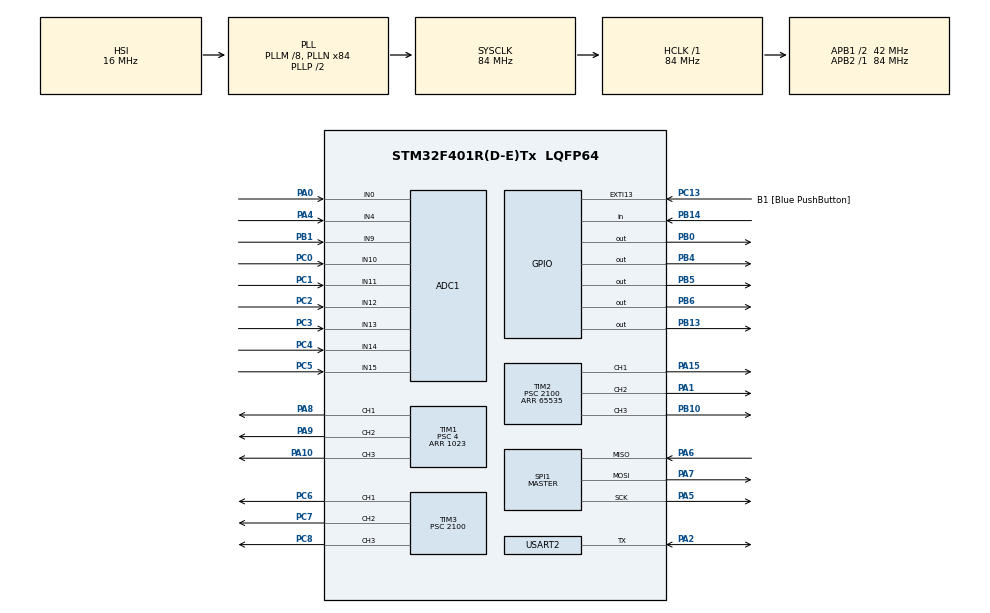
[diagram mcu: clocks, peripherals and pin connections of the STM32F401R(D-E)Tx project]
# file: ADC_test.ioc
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ADC1.Channel-0\#ChannelRegularConversion=ADC_CHANNEL_0
ADC1.Channel-1\#ChannelRegularConversion=ADC_CHANNEL_4
ADC1.Channel-2\#ChannelRegularConversion=ADC_CHANNEL_9
ADC1.Channel-3\#ChannelRegularConversion=ADC_CHANNEL_10
ADC1.Channel-4\#ChannelRegularConversion=ADC_CHANNEL_11
ADC1.Channel-5\#ChannelRegularConversion=ADC_CHANNEL_12
ADC1.Channel-6\#ChannelRegularConversion=ADC_CHANNEL_13
ADC1.Channel-7\#ChannelRegularConversion=ADC_CHANNEL_14
ADC1.Channel-8\#ChannelRegularConversion=ADC_CHANNEL_15
ADC1.ClockPrescaler=ADC_CLOCK_SYNC_PCLK_DIV8
ADC1.ContinuousConvMode=ENABLE
ADC1.DMAContinuousRequests=ENABLE
ADC1.NbrOfConversion=9
ADC1.NbrOfConversionFlag=1
ADC1.Rank-0\#ChannelRegularConversion=1
ADC1.Rank-1\#ChannelRegularConversion=2
ADC1.Rank-2\#ChannelRegularConversion=3
ADC1.Rank-3\#ChannelRegularConversion=4
ADC1.Rank-4\#ChannelRegularConversion=5
ADC1.Rank-5\#ChannelRegularConversion=6
ADC1.Rank-6\#ChannelRegularConversion=7
ADC1.Rank-7\#ChannelRegularConversion=8
ADC1.Rank-8\#ChannelRegularConversion=9
ADC1.SamplingTime-0\#ChannelRegularConversion=ADC_SAMPLETIME_3CYCLES
ADC1.SamplingTime-1\#ChannelRegularConversion=ADC_SAMPLETIME_3CYCLES
ADC1.SamplingTime-2\#ChannelRegularConversion=ADC_SAMPLETIME_3CYCLES
ADC1.SamplingTime-3\#ChannelRegularConversion=ADC_SAMPLETIME_3CYCLES
ADC1.SamplingTime-4\#ChannelRegularConversion=ADC_SAMPLETIME_3CYCLES
ADC1.SamplingTime-5\#ChannelRegularConversion=ADC_SAMPLETIME_3CYCLES
ADC1.SamplingTime-6\#ChannelRegularConversion=ADC_SAMPLETIME_3CYCLES
ADC1.SamplingTime-7\#ChannelRegularConversion=ADC_SAMPLETIME_3CYCLES
ADC1.SamplingTime-8\#ChannelRegularConversion=ADC_SAMPLETIME_3CYCLES
ADC1.master=1
Dma.ADC1.0.Direction=DMA_PERIPH_TO_MEMORY
Dma.ADC1.0.FIFOMode=DMA_FIFOMODE_DISABLE
Dma.ADC1.0.Instance=DMA2_Stream0
Dma.ADC1.0.MemDataAlignment=DMA_MDATAALIGN_HALFWORD
Dma.ADC1.0.MemInc=DMA_MINC_ENABLE
Dma.ADC1.0.Mode=DMA_CIRCULAR
Dma.ADC1.0.PeriphDataAlignment=DMA_PDATAALIGN_HALFWORD
Dma.ADC1.0.PeriphInc=DMA_PINC_DISABLE
Dma.ADC1.0.Priority=DMA_PRIORITY_LOW
Dma.Request0=ADC1
Mcu.Family=STM32F4
Mcu.Name=STM32F401R(D-E)Tx
Mcu.Package=LQFP64
NVIC.DMA2_Stream0_IRQn=true\:0\:0\:false\:false\:true\:false\:true
NVIC.PriorityGroup=NVIC_PRIORITYGROUP_0
PA0-WKUP.Signal=ADCx_IN0
PA1.Signal=S_TIM2_CH2
PA10.Signal=S_TIM1_CH3
PA13.GPIO_Label=TMS
PA13.Mode=Serial_Wire
PA13.Signal=SYS_JTMS-SWDIO
PA14.GPIO_Label=TCK
PA14.Mode=Serial_Wire
PA14.Signal=SYS_JTCK-SWCLK
PA15.Signal=S_TIM2_CH1_ETR
PA2.Mode=Half_duplex(single_wire_mode)
PA2.Signal=USART2_TX
PA4.Signal=ADCx_IN4
PA5.Mode=Full_Duplex_Master
PA5.Signal=SPI1_SCK
PA6.Mode=Full_Duplex_Master
PA6.Signal=SPI1_MISO
PA7.Mode=Full_Duplex_Master
PA7.Signal=SPI1_MOSI
PA8.Signal=S_TIM1_CH1
PA9.Signal=S_TIM1_CH2
PB0.Signal=GPIO_Output
PB1.Signal=ADCx_IN9
PB10.Signal=S_TIM2_CH3
PB13.Signal=GPIO_Output
PB14.Signal=GPIO_Input
PB3.GPIO_Label=SWO
PB3.Signal=SYS_JTDO-SWO
PB4.Signal=GPIO_Output
PB5.Signal=GPIO_Output
PB6.Signal=GPIO_Output
PC0.Signal=ADCx_IN10
PC1.Signal=ADCx_IN11
PC13-ANTI_TAMP.GPIO_Label=B1 [Blue PushButton]
PC13-ANTI_TAMP.GPIO_ModeDefaultEXTI=GPIO_MODE_IT_FALLING
PC13-ANTI_TAMP.GPIO_PuPd=GPIO_NOPULL
PC13-ANTI_TAMP.Signal=GPXTI13
PC14-OSC32_IN.Mode=LSE-External-Oscillator
PC14-OSC32_IN.Signal=RCC_OSC32_IN
PC15-OSC32_OUT.Mode=LSE-External-Oscillator
PC15-OSC32_OUT.Signal=RCC_OSC32_OUT
PC2.Signal=ADCx_IN12
PC3.Signal=ADCx_IN13
PC4.Signal=ADCx_IN14
PC5.Signal=ADCx_IN15
PC6.Signal=S_TIM3_CH1
PC7.Signal=S_TIM3_CH2
PC8.Signal=S_TIM3_CH3
PH0\ -\ OSC_IN.Mode=HSE-External-Oscillator
PH0\ -\ OSC_IN.Signal=RCC_OSC_IN
PH1\ -\ OSC_OUT.Mode=HSE-External-Oscillator
PH1\ -\ OSC_OUT.Signal=RCC_OSC_OUT
ProjectManager.HeapSize=0x200
ProjectManager.StackSize=0x400
ProjectManager.TargetToolchain=STM32CubeIDE
RCC.48MHZClocksFreq_Value=24000000
RCC.AHBFreq_Value=84000000
RCC.APB1CLKDivider=RCC_HCLK_DIV2
RCC.APB1Freq_Value=42000000
RCC.APB1TimFreq_Value=84000000
RCC.APB2Freq_Value=84000000
RCC.APB2TimFreq_Value=84000000
RCC.CortexFreq_Value=84000000
RCC.HCLKFreq_Value=84000000
RCC.HSE_VALUE=8000000
RCC.HSI_VALUE=16000000
RCC.PLLM=8
RCC.PLLN=84
RCC.PLLQ=7
RCC.SYSCLKFreq_VALUE=84000000
RCC.SYSCLKSource=RCC_SYSCLKSOURCE_PLLCLK
RCC.VCOOutputFreq_Value=168000000
SH.ADCx_IN0.0=ADC1_IN0,IN0
SH.ADCx_IN10.0=ADC1_IN10,IN10
SH.ADCx_IN11.0=ADC1_IN11,IN11
SH.ADCx_IN12.0=ADC1_IN12,IN12
SH.ADCx_IN13.0=ADC1_IN13,IN13
SH.ADCx_IN14.0=ADC1_IN14,IN14
SH.ADCx_IN15.0=ADC1_IN15,IN15
SH.ADCx_IN4.0=ADC1_IN4,IN4
SH.ADCx_IN9.0=ADC1_IN9,IN9
SH.S_TIM1_CH1.0=TIM1_CH1,PWM Generation1 CH1
SH.S_TIM1_CH2.0=TIM1_CH2,PWM Generation2 CH2
SH.S_TIM1_CH3.0=TIM1_CH3,PWM Generation3 CH3
SH.S_TIM2_CH1_ETR.0=TIM2_CH1,PWM Generation1 CH1
SH.S_TIM2_CH2.0=TIM2_CH2,PWM Generation2 CH2
SH.S_TIM2_CH3.0=TIM2_CH3,PWM Generation3 CH3
SH.S_TIM3_CH1.0=TIM3_CH1,PWM Generation1 CH1
SH.S_TIM3_CH2.0=TIM3_CH2,PWM Generation2 CH2
SH.S_TIM3_CH3.0=TIM3_CH3,PWM Generation3 CH3
SPI1.BaudRatePrescaler=SPI_BAUDRATEPRESCALER_16
SPI1.Direction=SPI_DIRECTION_2LINES
SPI1.Mode=SPI_MODE_MASTER
SPI1.VirtualType=VM_MASTER
TIM1.Channel-PWM\ Generation1\ CH1=TIM_CHANNEL_1
TIM1.Channel-PWM\ Generation2\ CH2=TIM_CHANNEL_2
TIM1.Channel-PWM\ Generation3\ CH3=TIM_CHANNEL_3
TIM1.CounterMode=TIM_COUNTERMODE_CENTERALIGNED1
TIM1.Period=1023
TIM1.Prescaler=4
TIM1.Pulse-PWM\ Generation1\ CH1=0
TIM1.Pulse-PWM\ Generation2\ CH2=0
TIM1.Pulse-PWM\ Generation3\ CH3=0
TIM2.Channel-PWM\ Generation1\ CH1=TIM_CHANNEL_1
TIM2.Channel-PWM\ Generation2\ CH2=TIM_CHANNEL_2
TIM2.Channel-PWM\ Generation3\ CH3=TIM_CHANNEL_3
TIM2.CounterMode=TIM_COUNTERMODE_CENTERALIGNED1
TIM2.Period=65535
TIM2.Prescaler=2100
TIM3.Channel-PWM\ Generation1\ CH1=TIM_CHANNEL_1
TIM3.Channel-PWM\ Generation2\ CH2=TIM_CHANNEL_2
TIM3.Channel-PWM\ Generation3\ CH3=TIM_CHANNEL_3
TIM3.CounterMode=TIM_COUNTERMODE_CENTERALIGNED1
TIM3.Prescaler=2100
TIM5.Channel-Output\ Compare4\ No\ Output=TIM_CHANNEL_4
TIM5.Period=999999
TIM5.Prescaler=84
USART2.VirtualMode=VM_ASYNC
VP_TIM5_VS_no_output4.Mode=Output Compare4 No Output
board=NUCLEO-F401RE

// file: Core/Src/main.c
/* USER CODE BEGIN Header */
/**
 ******************************************************************************
 * @file           : main.c
 * @brief          : Main program body
 ******************************************************************************
 * @attention
 *
 * <h2><center>&copy; Copyright (c) 2021 STMicroelectronics.
 * All rights reserved.</center></h2>
 *
 * This software component is licensed by ST under BSD 3-Clause license,
 * the "License"; You may not use this file except in compliance with the
 * License. You may obtain a copy of the License at:
 *                        opensource.org/licenses/BSD-3-Clause
 *
 ******************************************************************************
 */
/* USER CODE END Header */
#include "main.h"

/* USER CODE BEGIN Includes */
#include <math.h>
#include <string.h>
#include <stdio.h>
#include <time.h>
#include "BMI270.h"
#include "AS5048A.h"
#include "Quaternions.h"
#include "DRV8313.h"
#include "def.h"
/* USER CODE END Includes */

ADC_HandleTypeDef hadc1;
DMA_HandleTypeDef hdma_adc1;

SPI_HandleTypeDef hspi1;

TIM_HandleTypeDef htim1;
TIM_HandleTypeDef htim2;
TIM_HandleTypeDef htim3;
TIM_HandleTypeDef htim5;

UART_HandleTypeDef huart2;

/* USER CODE BEGIN PV */

/*Quaternion vars*/
//######################################

volatile float q0 = 1.0f, q1 = 0.0f, q2 = 0.0f, q3 = 0.0f;

float sampleDelay = 0.0f; //milliseconds

clock_t t1;
clock_t t2;
float while_t = 7.0f;
volatile uint32_t us_t = 0;
volatile uint32_t us_t_prev = 988;

//wait variable for bypassing zero-values when calculating quaternion
uint8_t waitFilterUpdate = 0;

#define DEG_TO_RAD 0.01745329251
#define RAD_TO_DEG 57.2957795457
//######################################

/*IMU variables*/
//######################################
float gyr_range, acc_range;

float gyr_limiter = 0.7;
//int16_t gyr_x_raw, gyr_y_raw, gyr_z_raw;
//int16_t acc_x_raw, acc_y_raw, acc_z_raw;
//static float gyr_x, gyr_y, gyr_z;
//static float acc_x, acc_y, acc_z;

float roll, pitch, yaw;

uint16_t offset_x = 0, offset_y = 0, offset_z = 0;

uint8_t chip_id = 0;
//######################################

/*Simulation vars*/
//######################################
float ax_s = 0, ay_s = 0, az_s = 0, gx_s = 0, gy_s = 0, gz_s = 0;
uint8_t zero_c = 0;
//######################################

/*DRV8313 vars*/
//######################################
volatile uint16_t adc_read[ADC_CHANNELS];
volatile uint8_t adcConvComplete = 0;

//######################################

uint32_t loop_cnt = 0;
uint32_t print_flag = 800;

char* buff[BUFF_SIZE]; //string buff for UART

/* USER CODE END PV */

void SystemClock_Config(void);
static void MX_GPIO_Init(void);
static void MX_USART2_UART_Init(void);
static void MX_DMA_Init(void);
static void MX_ADC1_Init(void);
static void MX_TIM1_Init(void);
static void MX_SPI1_Init(void);
static void MX_TIM2_Init(void);
static void MX_TIM3_Init(void);
static void MX_TIM5_Init(void);

int main(void)
{

  /* MCU Configuration--------------------------------------------------------*/

  /* Reset of all peripherals, Initializes the Flash interface and the Systick. */
  HAL_Init();

  /* Configure the system clock */
  SystemClock_Config();

  /* Initialize all configured peripherals */
  MX_GPIO_Init();
  MX_USART2_UART_Init();
  MX_DMA_Init();
  MX_ADC1_Init();
  MX_TIM1_Init();
  MX_SPI1_Init();
  MX_TIM2_Init();
  MX_TIM3_Init();
  MX_TIM5_Init();
  /* USER CODE BEGIN 2 */

  	if(!USE_IMU_VIS){
		sprintf((char*)buff, "\r\n###########################\r\n");
		HAL_UART_Transmit(&huart2, (uint8_t*)buff, strlen((char*)buff), HAL_MAX_DELAY);
  	}

  	EulerAngles Euler;

  	IMU Imu;

	MotorDriver MotorX;
	MotorDriver MotorY;
	MotorDriver MotorZ;

	MotorX.PIN_ENC = PIN_ENC_X;
	MotorY.PIN_ENC = PIN_ENC_Y;
	MotorZ.PIN_ENC = PIN_ENC_Z;

	if (USE_DRV8313) {

		/* Initialize motor structs and start PWM*/
		drv8313_init(&MotorX, &htim1);
		drv8313_init(&MotorY, &htim2);
		drv8313_init(&MotorZ, &htim3);

		if (ADC_TYPE == ADC_DMA) {
			HAL_ADC_Start_DMA(&hadc1, (uint32_t*) adc_read, ADC_CHANNELS);
		} else if (ADC_TYPE == ADC_INT) {

		}
	}

	if (USE_BMI270) {
		bmi270_spi_init();
		if(!USE_IMU_VIS){
			bmi270_spi_init_check();
		}

		bmi270_pwr_conf(BMI270_PWR_MODE_PERF);
		bmi270_spi_write_8(REG_GYR_RANGE, range_2000);
		bmi270_spi_write_8(REG_ACC_RANGE, range_8g);

		bmi270_getGyroRange(&Imu);
		bmi270_getAccelRange(&Imu);

		bmi270_calibrateInit(&Imu, 0);

		Imu.gyr_odr = gyr_odr_25; /* Set gyro 3dB LP-filter cutoff to 50Hz */
		Imu.gyr_bwp = gyr_osr2;
		Imu.gyr_noise_perf = gyr_ulp;
		Imu.gyr_filter_perf = gyr_ulp;
		bmi270_setGyroConf(&Imu);
		bmi270_getGyroConf(&Imu);

		Imu.acc_odr = acc_odr_12p5; /* Set accel 3dB LP-filter cutoff to 50Hz */
		Imu.acc_bwp = acc_res_avg128;
		Imu.acc_filter_perf = acc_ulp;
		bmi270_setAccConf(&Imu);
		bmi270_getAccConf(&Imu);
	}

	if (USE_AS5048A) {
		/* Initialize encoders for each motor*/
		as5048a_init(&MotorX);
		as5048a_init(&MotorY);
		as5048a_init(&MotorZ);
	}

	setSampleFreq_ms();

	TIM5->PSC = 84;
	TIM5->ARR = 999999;

	HAL_TIM_Base_Start(&htim5);
  /* USER CODE END 2 */

  /* Infinite loop */
  /* USER CODE BEGIN WHILE */
	while (1) {
//		us_t = __HAL_TIM_GET_COUNTER(&htim5);
//		setSampleFreq_us();
		t1 = HAL_GetTick();
		setSampleFreq_ms();

		if (USE_AS5048A) {

			as5048a_getAngle(&MotorX);
			as5048a_getAngle(&MotorY);
			as5048a_getAngle(&MotorZ);

		}

		if (USE_DRV8313 && !USE_IMU_VIS) {
			if (ADC_TYPE == ADC_DMA) {
				while (adcConvComplete == 0) { /* ADC interrupt wait */
				}
				adcConvComplete = 0;

				MotorX.sense1 = adc_read[0];
				MotorX.sense2 = adc_read[1];
				MotorX.sense3 = adc_read[2];
				MotorY.sense1 = adc_read[3];
				MotorY.sense2 = adc_read[4];
				MotorY.sense3 = adc_read[5];
				MotorZ.sense1 = adc_read[6];
				MotorZ.sense2 = adc_read[7];
				MotorZ.sense3 = adc_read[8];
			}

			drv8313_setDutyLookup(&MotorX);
		}

		if (USE_BMI270) {
			Imu.gyr_x = (int16_t)bmi270_read_gyro(AXIS_X) / Imu.gyr_range;
			Imu.gyr_y = (int16_t)bmi270_read_gyro(AXIS_Y) / Imu.gyr_range;
			Imu.gyr_z = (int16_t)bmi270_read_gyro(AXIS_Z) / Imu.gyr_range;

			if(!HAL_GPIO_ReadPin(GPIOC, GPIO_PIN_13)){
				q0 = 1.0f, q1 = 0.0f, q2 = 0.0f, q3 = 0.0f;
			}

			bmi270_calibrateNoise(&Imu);
			//gyro limiter. Prevents yaw drift programmatically, with some success.
			if(Imu.calibration_c >= BMI270_CALIBRATION_TIM){
				if(Imu.gyr_x > -Imu.gyr_lim_min_x && Imu.gyr_x < Imu.gyr_lim_max_x){
					Imu.gyr_x = 0.0f;
				}
				if(Imu.gyr_y > -Imu.gyr_lim_min_y && Imu.gyr_y < Imu.gyr_lim_max_x){
					Imu.gyr_y = 0.0f;
				}
				if(Imu.gyr_z > -Imu.gyr_lim_min_z && Imu.gyr_z < Imu.gyr_lim_max_z){
					Imu.gyr_z = 0.0f;
				}
			}

			Imu.acc_x = (int16_t)bmi270_read_accel(AXIS_X) / Imu.acc_range;
			Imu.acc_y = (int16_t)bmi270_read_accel(AXIS_Y) / Imu.acc_range;
			Imu.acc_z = (int16_t)bmi270_read_accel(AXIS_Z) / Imu.acc_range;
		}

		//Wait before updating quaternion. This avoids div by zero in different Quaternion functions.
		if (/*waitFilterUpdate >= 1 &&*/ !USE_SIM && (USE_BMI270 || USE_ICM20602)) {
			filterUpdate(Imu.gyr_x * DEG_TO_RAD, Imu.gyr_y * DEG_TO_RAD,
					Imu.gyr_z * DEG_TO_RAD, Imu.acc_x, Imu.acc_y, Imu.acc_z);
		} else if (USE_SIM) {
			gx_s = 0;
			gy_s = 0;
			gz_s = 10;
			ax_s = 0.0;
			ay_s = 0.0;
			az_s = 0.0;
			filterUpdate(gx_s * DEG_TO_RAD, gy_s * DEG_TO_RAD,
					gz_s * DEG_TO_RAD, ax_s, ay_s, az_s);
		}
		waitFilterUpdate++;

		if (USE_ICM20602 || USE_BMI270) {
			Euler = ToEulerAngles(q0, q1, q2, q3);
			Imu.roll = Euler.x * RAD_TO_DEG;
			Imu.pitch = Euler.y * RAD_TO_DEG;
			Imu.yaw = Euler.z * RAD_TO_DEG;
		}

		if(USE_PRINT){
			uint16_t len = 0;
			if(!USE_IMU_VIS && !loop_cnt){
				if(USE_AS5048A){
					len += sprintf((char*)buff + len,
							"\r\n########## ENCODER ANGLES ##########\r\n"
							"MotorX\r\n"
							"Angle: %.3f\t Zero pos: %.3f\r\n"
							"MotorY\r\n"
							"Angle: %.3f\t Zero pos: %.3f\r\n"
							"MotorZ\r\n"
							"Angle: %.3f\t Zero pos: %.3f\r\n",
							MotorX.angle, MotorX.zero_pos_map,
							MotorY.angle, MotorY.zero_pos_map,
							MotorZ.angle, MotorZ.zero_pos_map
					);
				}
				if(USE_DRV8313){
					len += sprintf((char*)buff + len,
							"\r\n########## DRV8313 DATA ##########\r\n"
							"MotorX\r\n"
							"Sense1: %u\tSense2: %u\tSense3: %u\r\n"
							"MotorY\r\n"
							"Sense1: %u\tSense2: %u\tSense3: %u\r\n"
							"MotorZ\r\n"
							"Sense1: %u\tSense2: %u\tSense3: %u\r\n",
							MotorX.sense1, MotorX.sense2, MotorX.sense3,
							MotorY.sense1, MotorY.sense2, MotorY.sense3,
							MotorZ.sense1, MotorZ.sense2, MotorZ.sense3);
				}
				if(USE_BMI270 || USE_ICM20602){
					len += sprintf((char*)buff + len,
							"\r\n########## IMU DATA ##########\r\n"
							"gyr_range: %f\r\n"
							"acc_range: %f\r\n"
							"while loop time: %f\r\n"
							"us_cnt: %ul\r\n"
							"sampleFreq: %f\r\n"
							"gyr_lim_min_x: %f\tgyr_lim_min_y: %f\tgyr_lim_min_z: %f\r\n"
							"gyr_lim_max_x: %f\tgyr_lim_max_y: %f\tgyr_lim_max_z: %f\r\n"
							"gyroscope x: %f˚/s, y: %f˚/s, z: %f˚/s\r\n"
							"accelerometer x: %f m/s2, y: %f m/s2, z: %f m/s2\r\n"
							"q0: %f, q1: %f, q2: %f, q3: %f\r\n"
							"roll: %f, pitch: %f, yaw: %f\r\n",
							Imu.acc_range, Imu.gyr_range, while_t, us_t_prev, sampleFreq,
							Imu.gyr_lim_min_x, Imu.gyr_lim_min_y, Imu.gyr_lim_min_z,
							Imu.gyr_lim_max_x, Imu.gyr_lim_max_y, Imu.gyr_lim_max_z,
							Imu.gyr_x, Imu.gyr_y, Imu.gyr_z,
							Imu.acc_x, Imu.acc_y, Imu.acc_z,
							q0, q1, q2, q3,
							Imu.roll, Imu.pitch, Imu.yaw);
				}
				HAL_UART_Transmit(&huart2, (uint8_t*)buff, strlen((char*)buff),
											HAL_MAX_DELAY);
			}
			if(USE_IMU_VIS){
				len += sprintf((char*)buff + len,
						"w%.4fwa%.4fab%.4fbc%.4fcy%.4fyp%.4fpr%.4fr\r\n",
						q0, q1, q2, q3,
						Imu.yaw, Imu.pitch, Imu.roll);
				HAL_UART_Transmit(&huart2, (uint8_t*)buff, strlen((char*)buff),
											HAL_MAX_DELAY);
			}

		}

		//HAL_Delay(sampleDelay);

		loop_cnt++;
		loop_cnt %= print_flag;
		/* millisecond timer */
		t2 = HAL_GetTick();
		while_t = t2 - t1;
		/* microsecond timer */
//		us_t = __HAL_TIM_GET_COUNTER(&htim5) - us_t;
//		us_t_prev = us_t;

    /* USER CODE END WHILE */

	}
}

void SystemClock_Config(void)
{
  RCC_OscInitTypeDef RCC_OscInitStruct = {0};
  RCC_ClkInitTypeDef RCC_ClkInitStruct = {0};

  /** Configure the main internal regulator output voltage
  */
  __HAL_RCC_PWR_CLK_ENABLE();
  __HAL_PWR_VOLTAGESCALING_CONFIG(PWR_REGULATOR_VOLTAGE_SCALE2);
  /** Initializes the RCC Oscillators according to the specified parameters
  * in the RCC_OscInitTypeDef structure.
  */
  RCC_OscInitStruct.OscillatorType = RCC_OSCILLATORTYPE_HSI;
  RCC_OscInitStruct.HSIState = RCC_HSI_ON;
  RCC_OscInitStruct.HSICalibrationValue = RCC_HSICALIBRATION_DEFAULT;
  RCC_OscInitStruct.PLL.PLLState = RCC_PLL_ON;
  RCC_OscInitStruct.PLL.PLLSource = RCC_PLLSOURCE_HSI;
  RCC_OscInitStruct.PLL.PLLM = 8;
  RCC_OscInitStruct.PLL.PLLN = 84;
  RCC_OscInitStruct.PLL.PLLP = RCC_PLLP_DIV2;
  RCC_OscInitStruct.PLL.PLLQ = 7;
  if (HAL_RCC_OscConfig(&RCC_OscInitStruct) != HAL_OK)
  {
    Error_Handler();
  }
  /** Initializes the CPU, AHB and APB buses clocks
  */
  RCC_ClkInitStruct.ClockType = RCC_CLOCKTYPE_HCLK|RCC_CLOCKTYPE_SYSCLK
                              |RCC_CLOCKTYPE_PCLK1|RCC_CLOCKTYPE_PCLK2;
  RCC_ClkInitStruct.SYSCLKSource = RCC_SYSCLKSOURCE_PLLCLK;
  RCC_ClkInitStruct.AHBCLKDivider = RCC_SYSCLK_DIV1;
  RCC_ClkInitStruct.APB1CLKDivider = RCC_HCLK_DIV2;
  RCC_ClkInitStruct.APB2CLKDivider = RCC_HCLK_DIV1;

  if (HAL_RCC_ClockConfig(&RCC_ClkInitStruct, FLASH_LATENCY_2) != HAL_OK)
  {
    Error_Handler();
  }
}

static void MX_ADC1_Init(void)
{

  ADC_ChannelConfTypeDef sConfig = {0};

  /** Configure the global features of the ADC (Clock, Resolution, Data Alignment and number of conversion)
  */
  hadc1.Instance = ADC1;
  hadc1.Init.ClockPrescaler = ADC_CLOCK_SYNC_PCLK_DIV8;
  hadc1.Init.Resolution = ADC_RESOLUTION_12B;
  hadc1.Init.ScanConvMode = ENABLE;
  hadc1.Init.ContinuousConvMode = ENABLE;
  hadc1.Init.DiscontinuousConvMode = DISABLE;
  hadc1.Init.ExternalTrigConvEdge = ADC_EXTERNALTRIGCONVEDGE_NONE;
  hadc1.Init.ExternalTrigConv = ADC_SOFTWARE_START;
  hadc1.Init.DataAlign = ADC_DATAALIGN_RIGHT;
  hadc1.Init.NbrOfConversion = 9;
  hadc1.Init.DMAContinuousRequests = ENABLE;
  hadc1.Init.EOCSelection = ADC_EOC_SINGLE_CONV;
  if (HAL_ADC_Init(&hadc1) != HAL_OK)
  {
    Error_Handler();
  }
  /** Configure for the selected ADC regular channel its corresponding rank in the sequencer and its sample time.
  */
  sConfig.Channel = ADC_CHANNEL_0;
  sConfig.Rank = 1;
  sConfig.SamplingTime = ADC_SAMPLETIME_3CYCLES;
  if (HAL_ADC_ConfigChannel(&hadc1, &sConfig) != HAL_OK)
  {
    Error_Handler();
  }
  /** Configure for the selected ADC regular channel its corresponding rank in the sequencer and its sample time.
  */
  sConfig.Channel = ADC_CHANNEL_4;
  sConfig.Rank = 2;
  if (HAL_ADC_ConfigChannel(&hadc1, &sConfig) != HAL_OK)
  {
    Error_Handler();
  }
  /** Configure for the selected ADC regular channel its corresponding rank in the sequencer and its sample time.
  */
  sConfig.Channel = ADC_CHANNEL_9;
  sConfig.Rank = 3;
  if (HAL_ADC_ConfigChannel(&hadc1, &sConfig) != HAL_OK)
  {
    Error_Handler();
  }
  /** Configure for the selected ADC regular channel its corresponding rank in the sequencer and its sample time.
  */
  sConfig.Channel = ADC_CHANNEL_10;
  sConfig.Rank = 4;
  if (HAL_ADC_ConfigChannel(&hadc1, &sConfig) != HAL_OK)
  {
    Error_Handler();
  }
  /** Configure for the selected ADC regular channel its corresponding rank in the sequencer and its sample time.
  */
  sConfig.Channel = ADC_CHANNEL_11;
  sConfig.Rank = 5;
  if (HAL_ADC_ConfigChannel(&hadc1, &sConfig) != HAL_OK)
  {
    Error_Handler();
  }
  /** Configure for the selected ADC regular channel its corresponding rank in the sequencer and its sample time.
  */
  sConfig.Channel = ADC_CHANNEL_12;
  sConfig.Rank = 6;
  if (HAL_ADC_ConfigChannel(&hadc1, &sConfig) != HAL_OK)
  {
    Error_Handler();
  }
  /** Configure for the selected ADC regular channel its corresponding rank in the sequencer and its sample time.
  */
  sConfig.Channel = ADC_CHANNEL_13;
  sConfig.Rank = 7;
  if (HAL_ADC_ConfigChannel(&hadc1, &sConfig) != HAL_OK)
  {
    Error_Handler();
  }
  /** Configure for the selected ADC regular channel its corresponding rank in the sequencer and its sample time.
  */
  sConfig.Channel = ADC_CHANNEL_14;
  sConfig.Rank = 8;
  if (HAL_ADC_ConfigChannel(&hadc1, &sConfig) != HAL_OK)
  {
    Error_Handler();
  }
  /** Configure for the selected ADC regular channel its corresponding rank in the sequencer and its sample time.
  */
  sConfig.Channel = ADC_CHANNEL_15;
  sConfig.Rank = 9;
  if (HAL_ADC_ConfigChannel(&hadc1, &sConfig) != HAL_OK)
  {
    Error_Handler();
  }

}

static void MX_SPI1_Init(void)
{

  /* SPI1 parameter configuration*/
  hspi1.Instance = SPI1;
  hspi1.Init.Mode = SPI_MODE_MASTER;
  hspi1.Init.Direction = SPI_DIRECTION_2LINES;
  hspi1.Init.DataSize = SPI_DATASIZE_8BIT;
  hspi1.Init.CLKPolarity = SPI_POLARITY_LOW;
  hspi1.Init.CLKPhase = SPI_PHASE_1EDGE;
  hspi1.Init.NSS = SPI_NSS_SOFT;
  hspi1.Init.BaudRatePrescaler = SPI_BAUDRATEPRESCALER_16;
  hspi1.Init.FirstBit = SPI_FIRSTBIT_MSB;
  hspi1.Init.TIMode = SPI_TIMODE_DISABLE;
  hspi1.Init.CRCCalculation = SPI_CRCCALCULATION_DISABLE;
  hspi1.Init.CRCPolynomial = 10;
  if (HAL_SPI_Init(&hspi1) != HAL_OK)
  {
    Error_Handler();
  }

}

static void MX_TIM1_Init(void)
{

  TIM_MasterConfigTypeDef sMasterConfig = {0};
  TIM_OC_InitTypeDef sConfigOC = {0};
  TIM_BreakDeadTimeConfigTypeDef sBreakDeadTimeConfig = {0};

  htim1.Instance = TIM1;
  htim1.Init.Prescaler = 4;
  htim1.Init.CounterMode = TIM_COUNTERMODE_CENTERALIGNED1;
  htim1.Init.Period = 1023;
  htim1.Init.ClockDivision = TIM_CLOCKDIVISION_DIV1;
  htim1.Init.RepetitionCounter = 0;
  htim1.Init.AutoReloadPreload = TIM_AUTORELOAD_PRELOAD_DISABLE;
  if (HAL_TIM_PWM_Init(&htim1) != HAL_OK)
  {
    Error_Handler();
  }
  sMasterConfig.MasterOutputTrigger = TIM_TRGO_RESET;
  sMasterConfig.MasterSlaveMode = TIM_MASTERSLAVEMODE_DISABLE;
  if (HAL_TIMEx_MasterConfigSynchronization(&htim1, &sMasterConfig) != HAL_OK)
  {
    Error_Handler();
  }
  sConfigOC.OCMode = TIM_OCMODE_PWM1;
  sConfigOC.Pulse = 0;
  sConfigOC.OCPolarity = TIM_OCPOLARITY_HIGH;
  sConfigOC.OCNPolarity = TIM_OCNPOLARITY_HIGH;
  sConfigOC.OCFastMode = TIM_OCFAST_DISABLE;
  sConfigOC.OCIdleState = TIM_OCIDLESTATE_RESET;
  sConfigOC.OCNIdleState = TIM_OCNIDLESTATE_RESET;
  if (HAL_TIM_PWM_ConfigChannel(&htim1, &sConfigOC, TIM_CHANNEL_1) != HAL_OK)
  {
    Error_Handler();
  }
  if (HAL_TIM_PWM_ConfigChannel(&htim1, &sConfigOC, TIM_CHANNEL_2) != HAL_OK)
  {
    Error_Handler();
  }
  if (HAL_TIM_PWM_ConfigChannel(&htim1, &sConfigOC, TIM_CHANNEL_3) != HAL_OK)
  {
    Error_Handler();
  }
  sBreakDeadTimeConfig.OffStateRunMode = TIM_OSSR_DISABLE;
  sBreakDeadTimeConfig.OffStateIDLEMode = TIM_OSSI_DISABLE;
  sBreakDeadTimeConfig.LockLevel = TIM_LOCKLEVEL_OFF;
  sBreakDeadTimeConfig.DeadTime = 0;
  sBreakDeadTimeConfig.BreakState = TIM_BREAK_DISABLE;
  sBreakDeadTimeConfig.BreakPolarity = TIM_BREAKPOLARITY_HIGH;
  sBreakDeadTimeConfig.AutomaticOutput = TIM_AUTOMATICOUTPUT_DISABLE;
  if (HAL_TIMEx_ConfigBreakDeadTime(&htim1, &sBreakDeadTimeConfig) != HAL_OK)
  {
    Error_Handler();
  }
  HAL_TIM_MspPostInit(&htim1);

}

static void MX_TIM2_Init(void)
{

  TIM_MasterConfigTypeDef sMasterConfig = {0};
  TIM_OC_InitTypeDef sConfigOC = {0};

  htim2.Instance = TIM2;
  htim2.Init.Prescaler = 2100;
  htim2.Init.CounterMode = TIM_COUNTERMODE_CENTERALIGNED1;
  htim2.Init.Period = 65535;
  htim2.Init.ClockDivision = TIM_CLOCKDIVISION_DIV1;
  htim2.Init.AutoReloadPreload = TIM_AUTORELOAD_PRELOAD_DISABLE;
  if (HAL_TIM_PWM_Init(&htim2) != HAL_OK)
  {
    Error_Handler();
  }
  sMasterConfig.MasterOutputTrigger = TIM_TRGO_RESET;
  sMasterConfig.MasterSlaveMode = TIM_MASTERSLAVEMODE_DISABLE;
  if (HAL_TIMEx_MasterConfigSynchronization(&htim2, &sMasterConfig) != HAL_OK)
  {
    Error_Handler();
  }
  sConfigOC.OCMode = TIM_OCMODE_PWM1;
  sConfigOC.Pulse = 0;
  sConfigOC.OCPolarity = TIM_OCPOLARITY_HIGH;
  sConfigOC.OCFastMode = TIM_OCFAST_DISABLE;
  if (HAL_TIM_PWM_ConfigChannel(&htim2, &sConfigOC, TIM_CHANNEL_1) != HAL_OK)
  {
    Error_Handler();
  }
  if (HAL_TIM_PWM_ConfigChannel(&htim2, &sConfigOC, TIM_CHANNEL_2) != HAL_OK)
  {
    Error_Handler();
  }
  if (HAL_TIM_PWM_ConfigChannel(&htim2, &sConfigOC, TIM_CHANNEL_3) != HAL_OK)
  {
    Error_Handler();
  }
  HAL_TIM_MspPostInit(&htim2);

}

static void MX_TIM3_Init(void)
{

  TIM_MasterConfigTypeDef sMasterConfig = {0};
  TIM_OC_InitTypeDef sConfigOC = {0};

  htim3.Instance = TIM3;
  htim3.Init.Prescaler = 2100;
  htim3.Init.CounterMode = TIM_COUNTERMODE_CENTERALIGNED1;
  htim3.Init.Period = 65535;
  htim3.Init.ClockDivision = TIM_CLOCKDIVISION_DIV1;
  htim3.Init.AutoReloadPreload = TIM_AUTORELOAD_PRELOAD_DISABLE;
  if (HAL_TIM_PWM_Init(&htim3) != HAL_OK)
  {
    Error_Handler();
  }
  sMasterConfig.MasterOutputTrigger = TIM_TRGO_RESET;
  sMasterConfig.MasterSlaveMode = TIM_MASTERSLAVEMODE_DISABLE;
  if (HAL_TIMEx_MasterConfigSynchronization(&htim3, &sMasterConfig) != HAL_OK)
  {
    Error_Handler();
  }
  sConfigOC.OCMode = TIM_OCMODE_PWM1;
  sConfigOC.Pulse = 0;
  sConfigOC.OCPolarity = TIM_OCPOLARITY_HIGH;
  sConfigOC.OCFastMode = TIM_OCFAST_DISABLE;
  if (HAL_TIM_PWM_ConfigChannel(&htim3, &sConfigOC, TIM_CHANNEL_1) != HAL_OK)
  {
    Error_Handler();
  }
  if (HAL_TIM_PWM_ConfigChannel(&htim3, &sConfigOC, TIM_CHANNEL_2) != HAL_OK)
  {
    Error_Handler();
  }
  if (HAL_TIM_PWM_ConfigChannel(&htim3, &sConfigOC, TIM_CHANNEL_3) != HAL_OK)
  {
    Error_Handler();
  }
  HAL_TIM_MspPostInit(&htim3);

}

static void MX_TIM5_Init(void)
{

  TIM_MasterConfigTypeDef sMasterConfig = {0};
  TIM_OC_InitTypeDef sConfigOC = {0};

  htim5.Instance = TIM5;
  htim5.Init.Prescaler = 84;
  htim5.Init.CounterMode = TIM_COUNTERMODE_UP;
  htim5.Init.Period = 999999;
  htim5.Init.ClockDivision = TIM_CLOCKDIVISION_DIV1;
  htim5.Init.AutoReloadPreload = TIM_AUTORELOAD_PRELOAD_DISABLE;
  if (HAL_TIM_OC_Init(&htim5) != HAL_OK)
  {
    Error_Handler();
  }
  sMasterConfig.MasterOutputTrigger = TIM_TRGO_RESET;
  sMasterConfig.MasterSlaveMode = TIM_MASTERSLAVEMODE_DISABLE;
  if (HAL_TIMEx_MasterConfigSynchronization(&htim5, &sMasterConfig) != HAL_OK)
  {
    Error_Handler();
  }
  sConfigOC.OCMode = TIM_OCMODE_TIMING;
  sConfigOC.Pulse = 0;
  sConfigOC.OCPolarity = TIM_OCPOLARITY_HIGH;
  sConfigOC.OCFastMode = TIM_OCFAST_DISABLE;
  if (HAL_TIM_OC_ConfigChannel(&htim5, &sConfigOC, TIM_CHANNEL_4) != HAL_OK)
  {
    Error_Handler();
  }

}

static void MX_USART2_UART_Init(void)
{

  huart2.Instance = USART2;
  huart2.Init.BaudRate = 115200;
  huart2.Init.WordLength = UART_WORDLENGTH_8B;
  huart2.Init.StopBits = UART_STOPBITS_1;
  huart2.Init.Parity = UART_PARITY_NONE;
  huart2.Init.Mode = UART_MODE_TX_RX;
  huart2.Init.HwFlowCtl = UART_HWCONTROL_NONE;
  huart2.Init.OverSampling = UART_OVERSAMPLING_16;
  if (HAL_HalfDuplex_Init(&huart2) != HAL_OK)
  {
    Error_Handler();
  }

}

static void MX_DMA_Init(void)
{

  /* DMA controller clock enable */
  __HAL_RCC_DMA2_CLK_ENABLE();

  /* DMA interrupt init */
  /* DMA2_Stream0_IRQn interrupt configuration */
  HAL_NVIC_SetPriority(DMA2_Stream0_IRQn, 0, 0);
  HAL_NVIC_EnableIRQ(DMA2_Stream0_IRQn);

}

static void MX_GPIO_Init(void)
{
  GPIO_InitTypeDef GPIO_InitStruct = {0};

  /* GPIO Ports Clock Enable */
  __HAL_RCC_GPIOC_CLK_ENABLE();
  __HAL_RCC_GPIOH_CLK_ENABLE();
  __HAL_RCC_GPIOA_CLK_ENABLE();
  __HAL_RCC_GPIOB_CLK_ENABLE();

  /*Configure GPIO pin Output Level */
  HAL_GPIO_WritePin(GPIOB, GPIO_PIN_0|GPIO_PIN_13|GPIO_PIN_4|GPIO_PIN_5
                          |GPIO_PIN_6, GPIO_PIN_RESET);

  /*Configure GPIO pin : B1_Pin */
  GPIO_InitStruct.Pin = B1_Pin;
  GPIO_InitStruct.Mode = GPIO_MODE_IT_FALLING;
  GPIO_InitStruct.Pull = GPIO_NOPULL;
  HAL_GPIO_Init(B1_GPIO_Port, &GPIO_InitStruct);

  /*Configure GPIO pins : PB0 PB13 PB4 PB5
                           PB6 */
  GPIO_InitStruct.Pin = GPIO_PIN_0|GPIO_PIN_13|GPIO_PIN_4|GPIO_PIN_5
                          |GPIO_PIN_6;
  GPIO_InitStruct.Mode = GPIO_MODE_OUTPUT_PP;
  GPIO_InitStruct.Pull = GPIO_NOPULL;
  GPIO_InitStruct.Speed = GPIO_SPEED_FREQ_LOW;
  HAL_GPIO_Init(GPIOB, &GPIO_InitStruct);

  /*Configure GPIO pin : PB14 */
  GPIO_InitStruct.Pin = GPIO_PIN_14;
  GPIO_InitStruct.Mode = GPIO_MODE_INPUT;
  GPIO_InitStruct.Pull = GPIO_NOPULL;
  HAL_GPIO_Init(GPIOB, &GPIO_InitStruct);

}

/* USER CODE BEGIN 4 */
void HAL_ADC_ConvCpltCallback(ADC_HandleTypeDef *hadc) {
	adcConvComplete = 1;
}
/* USER CODE END 4 */

void Error_Handler(void)
{
	__disable_irq();
	while (1) {
	}
}

/************************ (C) COPYRIGHT STMicroelectronics *****END OF FILE****/
